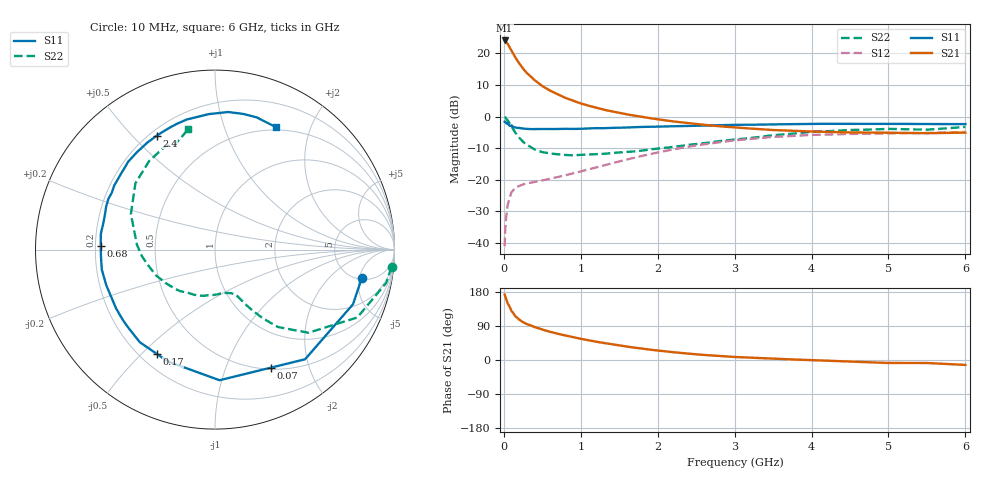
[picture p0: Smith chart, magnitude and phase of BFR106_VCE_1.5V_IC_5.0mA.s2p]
! Infineon Technologies  Discrete & RF Semiconductors
! BFR106
! VCE =  1.5 V,  IC =  5.0 mA
! Common Emitter S-Parameters:  Nov 2015
# GHz  S  MA  R  50
!  f  S11  S21  S12  S22
! GHz  MAG  ANG  MAG  ANG  MAG  ANG  MAG  ANG
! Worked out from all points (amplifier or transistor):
!   210 points, 10 MHz to 6 GHz, reference 50 ohm
!   highest |S21| = 24.1 dB at 10 MHz (marker M1)
!   |S21| within 3 dB of that: start of sweep to 94.52 MHz
!   unconditionally stable (mu >= 1): 599.8 MHz to 2.452 GHz; 3.763 GHz to end of sweep
!   at 185 MHz: K = 0.39, MSG = 19.8 dB, |S12| = -22.1 dB
!   at 1.52 GHz: K = 1.15, MAG = 5.2 dB, |S12| = -14.0 dB
!   at 6 GHz: K = 1.03, MAG = -1.1 dB, |S12| = -4.8 dB
!   S11 on the Smith chart (normalised r, x): 10 MHz: 5.33, -5.45; 70 MHz: 0.52, -1.45; 170 MHz: 0.27, -0.56; 680 MHz: 0.22, +0.02; 2.4 GHz: 0.23, +0.59; 6 GHz: 0.46, +1.51
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0.01  0.8334 -10.8  16.09 172.8  0.0089 86.0  0.9883 -5.6
0.02  0.8271 -21.6  15.87 167.1  0.0176 81.8  0.9717 -11.0
0.05  0.7907 -50.6  14.21 149.3  0.0401 64.6  0.8784 -25.5
0.07  0.7277 -64.7  12.79 142.4  0.0491 56.7  0.7984 -31.1
0.1  0.7282 -88.0  11.13 129.1  0.0637 49.2  0.6966 -41.7
0.15  0.6765 -112.8  8.632 115.2  0.075 40.3  0.5555 -50.9
0.17  0.6653 -119.2  7.951 112.2  0.0771 38.7  0.5184 -52.5
0.2  0.6647 -129.1  6.981 106.5  0.0804 36.5  0.4636 -55.3
0.24  0.6496 -138.5  5.986 101.1  0.0838 34.9  0.4106 -57.7
0.3  0.6413 -149.2  4.891 94.7  0.0874 34.4  0.3583 -60.4
0.4  0.6375 -161.8  3.777 86.8  0.0926 35.2  0.3023 -63.2
0.5  0.6405 -169.9  3.05 80.2  0.0979 37.2  0.2744 -65.5
0.68  0.637 178.1  2.316 70.3  0.109 42.0  0.2552 -71.7
0.8  0.642 172.0  1.984 64.5  0.118 45.0  0.2473 -76.4
1.02  0.6444 161.8  1.593 55.3  0.1377 49.7  0.249 -85.7
1.4  0.6654 147.5  1.214 41.7  0.1818 54.0  0.2661 -104.4
2.02  0.6963 127.9  0.899 24.6  0.2736 52.0  0.3137 -136.9
2.4  0.713 117.1  0.79 16.7  0.3348 47.3  0.3587 -156.4
3.1  0.7428 100.3  0.662 7.1  0.4317 34.9  0.4457 172.2
4.1  0.7697 83.2  0.578 -1.1  0.5168 16.7  0.5816 137.4
5.1  0.7702 71.4  0.555 -7.8  0.5447 2.7  0.6367 114.6
6  0.7623 63.6  0.559 -13.0  0.574 -7.1  0.6878 102.4
